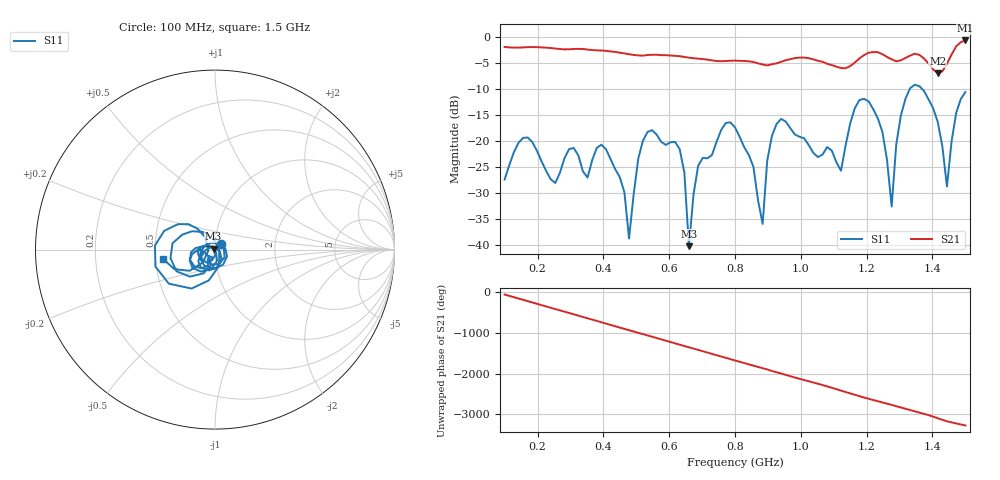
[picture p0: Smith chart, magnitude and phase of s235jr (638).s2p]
! NanoVNA-App
! Date: 2025-09-25 15:09:08
! Start: 100MHz Stop: 1,5GHz Points: 101
! S-Parameter data: F S11 S21 S12 S22
# Hz S RI R 50
!  Frequency  S11_Real  S11_Imag  S21_Real  S21_Imag  S12_Real  S12_Imag  S22_Real  S22_Imag
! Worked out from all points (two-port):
!   101 points, 100 MHz to 1.5 GHz, reference 50 ohm
!   highest |S21| = -0.71 dB at 1.5 GHz (marker M1); lowest = -7.0 dB at 1.416 GHz (marker M2)
!   |S21| within 3 dB of the highest: start of sweep to 625.9 MHz; 1.188 GHz to 1.257 GHz (69.04 MHz wide, 5.65 % of centre) (the widest 2 of 4)
!   lowest |S11| = -40.3 dB at 660 MHz (marker M3), VSWR 1.02, Z = 49.2 + j0.538 ohm
!   |S11| at or under -10 dB: start of sweep to 1.331 GHz; 1.368 GHz to end of sweep
!   S12 and S22 are empty: the file has one direction only
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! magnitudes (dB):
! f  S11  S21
! 100 MHz  -27.5  -2.0
! 170 MHz  -19.4  -2.0
! 338 MHz  -25.9  -2.3
! 408 MHz  -21.6  -2.7
! 478 MHz  -38.8  -3.4
! 520 MHz  -20.0  -3.6
! 576 MHz  -20.2  -3.5
! 632 MHz  -21.6  -3.7
! 660 MHz  -40.3  -4.0
! 688 MHz  -24.8  -4.2
! 800 MHz  -17.4  -4.6
! 884 MHz  -36.0  -5.3
! 926 MHz  -16.8  -5.1
! 1.038 GHz  -22.4  -4.3
! 1.122 GHz  -25.8  -6.0
! 1.206 GHz  -12.4  -3.1
! 1.276 GHz  -32.7  -4.3
! 1.29 GHz  -20.7  -4.7
! 1.332 GHz  -9.9  -3.6
! 1.416 GHz  -16.4  -7.0
! 1.444 GHz  -28.8  -5.2
! 1.5 GHz  -10.6  -0.7
